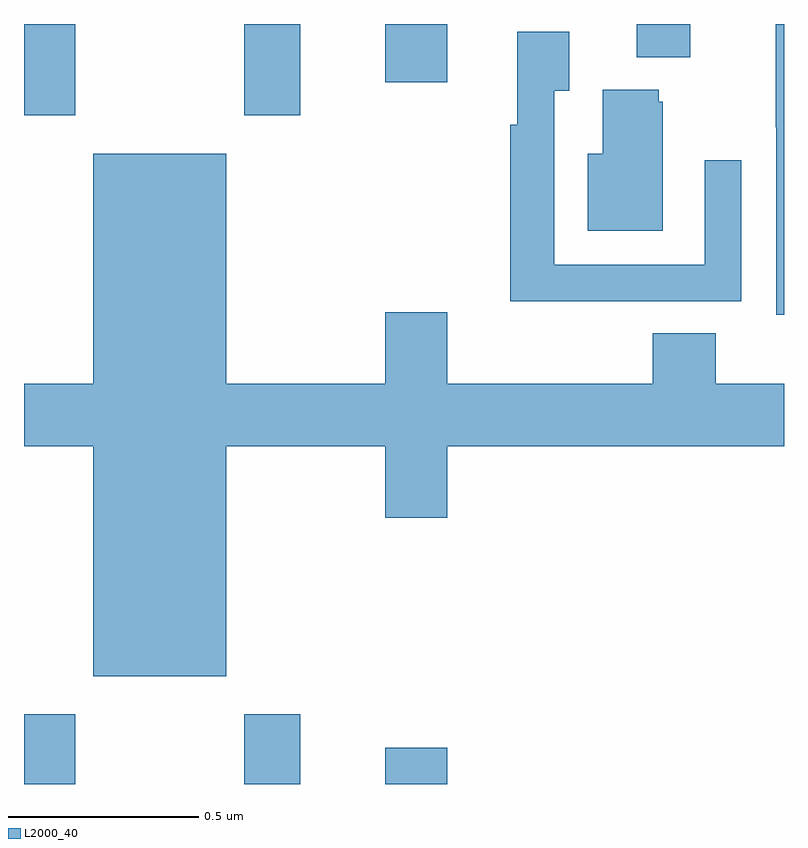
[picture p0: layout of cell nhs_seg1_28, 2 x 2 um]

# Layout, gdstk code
import gdstk
lib = gdstk.Library(unit=1e-6, precision=1e-09)
def R(c, l, rs):  # rectangles x0, y0, x1, y1
    for r in rs: c.add(gdstk.rectangle(r[:2], r[2:], *l))
def P(c, l, *ps):  # polygons
    for p in ps: c.add(gdstk.Polygon(p, *l))
L2000_40 = (2000, 40)

nhs_seg1_28 = lib.new_cell('nhs_seg1_28')
R(nhs_seg1_28, L2000_40, [(111,528.199,111.135,528.382), (111.58,528.199,111.727,528.382), (111.95,528.199,112.114,528.295), (111,529.959,111.135,530.199), (111.58,529.959,111.727,530.199), (111.95,530.046,112.114,530.199), (112.613,530.111,112.753,530.199)])
P(nhs_seg1_28, L2000_40, [(113,530.199),(112.978,530.199),(112.978,529.927),(112.98,529.927),(112.98,529.434),(113,529.434)],
  [(112.571,529.47),(112.887,529.47),(112.887,529.84),(112.791,529.84),(112.791,529.566),(112.395,529.566),(112.395,530.023),(112.435,530.023),(112.435,530.179),(112.298,530.179),(112.298,529.934),(112.279,529.934),(112.279,529.469),(112.571,529.469)],
  [(112.681,529.995),(112.67,529.995),(112.67,530.026),(112.523,530.026),(112.523,529.858),(112.484,529.858),(112.484,529.655),(112.681,529.655)],
  [(111.532,529.088),(111.95,529.088),(111.95,528.9),(112.114,528.9),(112.114,529.088),(113,529.088),(113,529.252),(112.82,529.252),(112.82,529.385),(112.655,529.385),(112.655,529.252),(112.114,529.252),(112.114,529.441),(111.95,529.441),(111.95,529.252),(111.532,529.252),(111.532,529.858),(111.182,529.858),(111.182,529.252),(111,529.252),(111,529.088),(111.182,529.088),(111.182,528.482),(111.532,528.482)])

lib.write_gds('nhs_seg1_28.gds')
